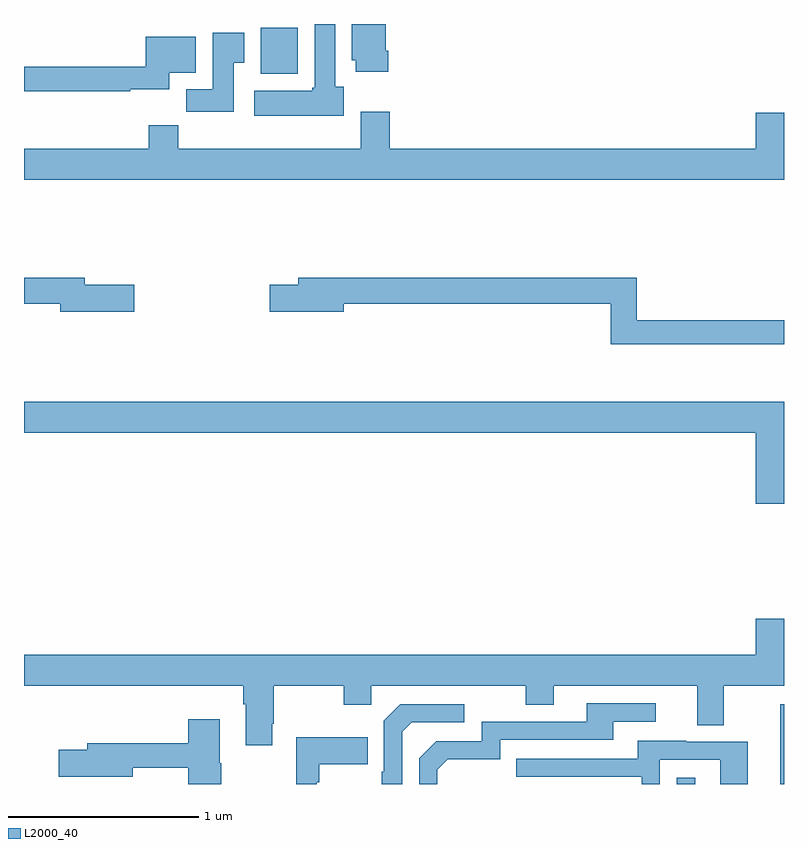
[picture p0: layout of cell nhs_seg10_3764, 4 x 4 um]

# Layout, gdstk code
import gdstk
lib = gdstk.Library(unit=1e-6, precision=1e-09)
def R(c, l, rs):  # rectangles x0, y0, x1, y1
    for r in rs: c.add(gdstk.rectangle(r[:2], r[2:], *l))
def P(c, l, *ps):  # polygons
    for p in ps: c.add(gdstk.Polygon(p, *l))
L2000_40 = (2000, 40)

nhs_seg10_3764 = lib.new_cell('nhs_seg10_3764')
R(nhs_seg10_3764, L2000_40, [(320.436,1266.5,320.533,1266.532), (320.981,1266.5,321,1266.921), (318.245,1270.238,318.442,1270.48)])
P(nhs_seg10_3764, L2000_40, [(318.917,1270.36),(318.904,1270.36),(318.904,1270.5),(318.725,1270.5),(318.725,1270.308),(318.746,1270.308),(318.746,1270.248),(318.917,1270.248)],
  [(318.682,1270.17),(318.637,1270.17),(318.637,1270.5),(318.53,1270.5),(318.53,1270.164),(318.517,1270.164),(318.517,1270.15),(318.213,1270.15),(318.213,1270.016),(318.682,1270.016)],
  [(318.103,1270.297),(318.16,1270.297),(318.16,1270.453),(317.993,1270.453),(317.993,1270.156),(317.854,1270.156),(317.854,1270.038),(318.103,1270.038)],
  [(317.558,1270.157),(317.764,1270.157),(317.764,1270.244),(317.905,1270.244),(317.905,1270.432),(317.642,1270.432),(317.642,1270.274),(317,1270.274),(317,1270.146),(317.558,1270.146)],
  [(321,1270.033),(320.852,1270.033),(320.852,1269.844),(318.926,1269.844),(318.926,1270.039),(318.773,1270.039),(318.773,1269.844),(317.813,1269.844),(317.813,1269.968),(317.657,1269.968),(317.657,1269.844),(317,1269.844),(317,1269.68),(321,1269.68)],
  [(321,1268.942),(320.225,1268.942),(320.225,1269.164),(318.443,1269.164),(318.443,1269.128),(318.294,1269.128),(318.294,1268.986),(318.682,1268.986),(318.682,1269.028),(320.089,1269.028),(320.089,1268.814),(321,1268.814)],
  [(317.581,1269.128),(317.32,1269.128),(317.32,1269.164),(317,1269.164),(317,1269.028),(317.192,1269.028),(317.192,1268.986),(317.581,1268.986)],
  [(321,1268.512),(317,1268.512),(317,1268.348),(320.852,1268.348),(320.852,1267.974),(321,1267.974)],
  [(318.307,1266.817),(318.315,1266.817),(318.315,1267.016),(318.682,1267.016),(318.682,1266.917),(318.828,1266.917),(318.828,1267.016),(319.642,1267.016),(319.642,1266.917),(319.789,1266.917),(319.789,1267.016),(320.543,1267.016),(320.543,1266.808),(320.683,1266.808),(320.683,1267.016),(321,1267.016),(321,1267.369),(320.852,1267.369),(320.852,1267.18),(317,1267.18),(317,1267.016),(318.155,1267.016),(318.155,1266.92),(318.167,1266.92),(318.167,1266.705),(318.307,1266.705)],
  [(319.176,1266.576),(319.229,1266.629),(319.506,1266.629),(319.506,1266.732),(320.101,1266.732),(320.101,1266.828),(320.326,1266.828),(320.326,1266.924),(319.961,1266.924),(319.961,1266.828),(319.41,1266.828),(319.41,1266.726),(319.17,1266.726),(319.08,1266.636),(319.08,1266.5),(319.176,1266.5)],
  [(318.99,1266.774),(319.041,1266.825),(319.318,1266.825),(319.318,1266.921),(318.981,1266.921),(318.894,1266.834),(318.894,1266.565),(318.882,1266.565),(318.882,1266.5),(318.99,1266.5)],
  [(318.039,1266.609),(318.031,1266.609),(318.031,1266.841),(317.864,1266.841),(317.864,1266.715),(317.333,1266.715),(317.333,1266.681),(317.184,1266.681),(317.184,1266.539),(317.572,1266.539),(317.572,1266.586),(317.864,1266.586),(317.864,1266.5),(318.039,1266.5)],
  [(318.54,1266.509),(318.553,1266.509),(318.553,1266.605),(318.809,1266.605),(318.809,1266.745),(318.432,1266.745),(318.432,1266.5),(318.54,1266.5)],
  [(320.346,1266.627),(320.664,1266.627),(320.664,1266.5),(320.809,1266.5),(320.809,1266.723),(320.485,1266.723),(320.485,1266.727),(320.231,1266.727),(320.231,1266.633),(319.591,1266.633),(319.591,1266.537),(320.25,1266.537),(320.25,1266.5),(320.346,1266.5)])

lib.write_gds('nhs_seg10_3764.gds')
